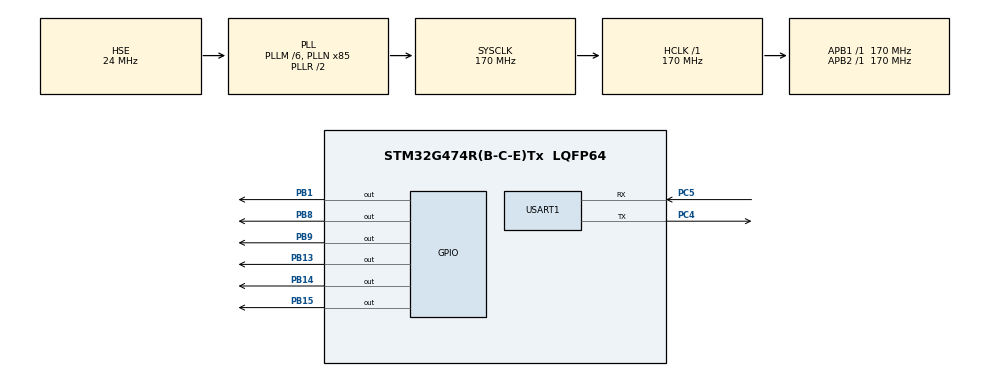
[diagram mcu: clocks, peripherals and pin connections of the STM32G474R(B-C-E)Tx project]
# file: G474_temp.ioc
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Mcu.Family=STM32G4
Mcu.Name=STM32G474R(B-C-E)Tx
Mcu.Package=LQFP64
NVIC.PriorityGroup=NVIC_PRIORITYGROUP_4
NVIC.USART1_IRQn=true\:0\:0\:false\:false\:true\:true\:true\:true
PA13.Mode=Serial_Wire
PA13.Signal=SYS_JTMS-SWDIO
PA14.Mode=Serial_Wire
PA14.Signal=SYS_JTCK-SWCLK
PB1.GPIO_Speed=GPIO_SPEED_FREQ_LOW
PB1.Signal=GPIO_Output
PB13.GPIO_Speed=GPIO_SPEED_FREQ_LOW
PB13.Signal=GPIO_Output
PB14.GPIO_Speed=GPIO_SPEED_FREQ_LOW
PB14.Signal=GPIO_Output
PB15.GPIO_Speed=GPIO_SPEED_FREQ_LOW
PB15.Signal=GPIO_Output
PB8-BOOT0.GPIO_FM8=__NULL
PB8-BOOT0.GPIO_ModeDefaultOutputPP=GPIO_MODE_OUTPUT_OD
PB8-BOOT0.GPIO_PuPd=GPIO_PULLUP
PB8-BOOT0.GPIO_Speed=GPIO_SPEED_FREQ_VERY_HIGH
PB8-BOOT0.Signal=GPIO_Output
PB9.GPIO_ModeDefaultOutputPP=GPIO_MODE_OUTPUT_OD
PB9.GPIO_PuPd=GPIO_PULLUP
PB9.GPIO_Speed=GPIO_SPEED_FREQ_VERY_HIGH
PB9.Signal=GPIO_Output
PC14-OSC32_IN.Mode=LSE-External-Oscillator
PC14-OSC32_IN.Signal=RCC_OSC32_IN
PC15-OSC32_OUT.Mode=LSE-External-Oscillator
PC15-OSC32_OUT.Signal=RCC_OSC32_OUT
PC4.Mode=Asynchronous
PC4.Signal=USART1_TX
PC5.Mode=Asynchronous
PC5.Signal=USART1_RX
PF0-OSC_IN.Mode=HSE-External-Oscillator
PF0-OSC_IN.Signal=RCC_OSC_IN
PF1-OSC_OUT.Mode=HSE-External-Oscillator
PF1-OSC_OUT.Signal=RCC_OSC_OUT
ProjectManager.HeapSize=0x200
ProjectManager.StackSize=0x400
ProjectManager.TargetToolchain=MDK-ARM V5.32
RCC.ADC12Freq_Value=170000000
RCC.ADC345Freq_Value=170000000
RCC.AHBFreq_Value=170000000
RCC.APB1Freq_Value=170000000
RCC.APB1TimFreq_Value=170000000
RCC.APB2Freq_Value=170000000
RCC.APB2TimFreq_Value=170000000
RCC.CortexFreq_Value=170000000
RCC.EXTERNAL_CLOCK_VALUE=12288000
RCC.HCLKFreq_Value=170000000
RCC.HSE_VALUE=24000000
RCC.HSI48_VALUE=48000000
RCC.HSI_VALUE=16000000
RCC.PLLM=RCC_PLLM_DIV6
RCC.PLLN=85
RCC.PLLSourceVirtual=RCC_PLLSOURCE_HSE
RCC.RTCClockSelection=RCC_RTCCLKSOURCE_LSE
RCC.SYSCLKFreq_VALUE=170000000
RCC.SYSCLKSource=RCC_SYSCLKSOURCE_PLLCLK
RCC.USBFreq_Value=170000000
RCC.VCOOutputFreq_Value=340000000
USART1.VirtualMode-Asynchronous=VM_ASYNC
VP_SYS_VS_DBSignals.Mode=DisableDeadBatterySignals
board=NUCLEO-G474RE

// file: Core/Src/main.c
/* USER CODE BEGIN Header */
/**
  ******************************************************************************
  * @file           : main.c
  * @brief          : Main program body
  ******************************************************************************
  * @attention
  *
  * Copyright (c) 2023 STMicroelectronics.
  * All rights reserved.
  *
  * This software is licensed under terms that can be found in the LICENSE file
  * in the root directory of this software component.
  * If no LICENSE file comes with this software, it is provided AS-IS.
  *
  ******************************************************************************
  */
/* USER CODE END Header */
#include "main.h"
#include "usart.h"
#include "gpio.h"

/* USER CODE BEGIN Includes */
#include "delay.h"
#include "myusart1.h"
#include "OLED_I2C.h"
#include "ADF4351.h"
/* USER CODE END Includes */

void SystemClock_Config(void);

int main(void)
{

  /* MCU Configuration--------------------------------------------------------*/

  /* Reset of all peripherals, Initializes the Flash interface and the Systick. */
  HAL_Init();

  /* Configure the system clock */
  SystemClock_Config();

  /* Initialize all configured peripherals */
  MX_GPIO_Init();
  MX_USART1_UART_Init();
  /* USER CODE BEGIN 2 */
  delay_init(170);
  MyUSART1_Init(&huart1);
  OLED_Init();
  OLED_CLS();
  OLED_ShowStr(40,3,(unsigned char *)"START",2);
  uint8_t Rx_data[100];

  ADF4351Init();
  ADF4351WriteFreq(200);
  /* USER CODE END 2 */

  /* Infinite loop */
  /* USER CODE BEGIN WHILE */
  while (1)
  {
    if(MyUSART1_ReadLine(Rx_data))
    {
      MyUSART1_WriteLine((uint8_t *)"你发送的是");
      MyUSART1_WriteLine(Rx_data);
      if(Rx_data[0]=='0'&& Rx_data[1]=='1')
        OLED_ShowStr(40,3,(unsigned char *)"RIGHT",2);
      else
        OLED_ShowStr(40,3,(unsigned char *)"FALSE",2);
    }

    delay_ms(5);

    /* USER CODE END WHILE */

  }
}

void SystemClock_Config(void)
{
  RCC_OscInitTypeDef RCC_OscInitStruct = {0};
  RCC_ClkInitTypeDef RCC_ClkInitStruct = {0};

  /** Configure the main internal regulator output voltage
  */
  HAL_PWREx_ControlVoltageScaling(PWR_REGULATOR_VOLTAGE_SCALE1_BOOST);

  /** Initializes the RCC Oscillators according to the specified parameters
  * in the RCC_OscInitTypeDef structure.
  */
  RCC_OscInitStruct.OscillatorType = RCC_OSCILLATORTYPE_HSE;
  RCC_OscInitStruct.HSEState = RCC_HSE_ON;
  RCC_OscInitStruct.PLL.PLLState = RCC_PLL_ON;
  RCC_OscInitStruct.PLL.PLLSource = RCC_PLLSOURCE_HSE;
  RCC_OscInitStruct.PLL.PLLM = RCC_PLLM_DIV6;
  RCC_OscInitStruct.PLL.PLLN = 85;
  RCC_OscInitStruct.PLL.PLLP = RCC_PLLP_DIV2;
  RCC_OscInitStruct.PLL.PLLQ = RCC_PLLQ_DIV2;
  RCC_OscInitStruct.PLL.PLLR = RCC_PLLR_DIV2;
  if (HAL_RCC_OscConfig(&RCC_OscInitStruct) != HAL_OK)
  {
    Error_Handler();
  }

  /** Initializes the CPU, AHB and APB buses clocks
  */
  RCC_ClkInitStruct.ClockType = RCC_CLOCKTYPE_HCLK|RCC_CLOCKTYPE_SYSCLK
                              |RCC_CLOCKTYPE_PCLK1|RCC_CLOCKTYPE_PCLK2;
  RCC_ClkInitStruct.SYSCLKSource = RCC_SYSCLKSOURCE_PLLCLK;
  RCC_ClkInitStruct.AHBCLKDivider = RCC_SYSCLK_DIV1;
  RCC_ClkInitStruct.APB1CLKDivider = RCC_HCLK_DIV1;
  RCC_ClkInitStruct.APB2CLKDivider = RCC_HCLK_DIV1;

  if (HAL_RCC_ClockConfig(&RCC_ClkInitStruct, FLASH_LATENCY_4) != HAL_OK)
  {
    Error_Handler();
  }
}

void Error_Handler(void)
{
  __disable_irq();
  while (1)
  {
  }
}
